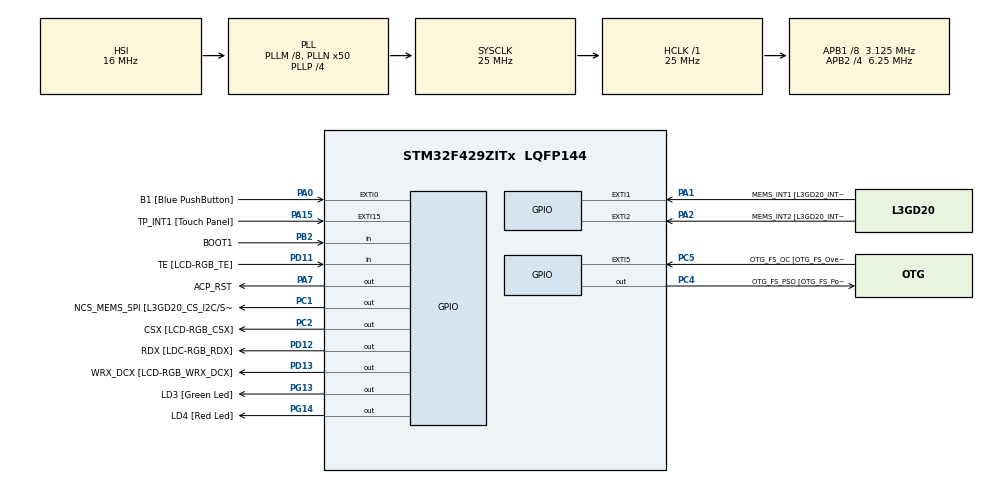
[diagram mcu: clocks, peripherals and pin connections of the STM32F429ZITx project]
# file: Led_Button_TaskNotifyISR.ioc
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Mcu.Family=STM32F4
Mcu.Name=STM32F429ZITx
Mcu.Package=LQFP144
NVIC.EXTI0_IRQn=true\:6\:0\:true\:false\:true\:true\:true\:true
NVIC.PriorityGroup=NVIC_PRIORITYGROUP_4
NVIC.TIM6_DAC_IRQn=true\:0\:0\:false\:false\:true\:false\:true\:true
NVIC.TimeBase=TIM6_DAC_IRQn
NVIC.TimeBaseIP=TIM6
PA0/WKUP.GPIO_Label=B1 [Blue PushButton]
PA0/WKUP.GPIO_ModeDefaultEXTI=GPIO_MODE_IT_FALLING
PA0/WKUP.GPIO_PuPd=GPIO_NOPULL
PA0/WKUP.Signal=GPXTI0
PA1.GPIO_Label=MEMS_INT1 [L3GD20_INT1]
PA1.GPIO_ModeDefaultEXTI=GPIO_MODE_EVT_RISING
PA1.GPIO_PuPd=GPIO_NOPULL
PA1.Signal=GPXTI1
PA10.GPIO_Label=STLINK_TX [STM32F103CBT6_PA2]
PA10.Signal=USART1_RX
PA11.GPIO_Label=R4
PA11.GPIO_Mode=GPIO_MODE_AF_PP
PA11.GPIO_PuPd=GPIO_NOPULL
PA11.GPIO_Speed=GPIO_SPEED_FREQ_LOW
PA11.Signal=LTDC_R4
PA12.GPIO_Label=R5
PA12.GPIO_Mode=GPIO_MODE_AF_PP
PA12.GPIO_PuPd=GPIO_NOPULL
PA12.GPIO_Speed=GPIO_SPEED_FREQ_LOW
PA12.Signal=LTDC_R5
PA13.GPIO_Label=SWDIO
PA13.Signal=SYS_JTMS-SWDIO
PA14.GPIO_Label=SWCLK
PA14.Signal=SYS_JTCK-SWCLK
PA15.GPIO_Label=TP_INT1 [Touch Panel]
PA15.GPIO_ModeDefaultEXTI=GPIO_MODE_EVT_RISING
PA15.GPIO_PuPd=GPIO_NOPULL
PA15.Signal=GPXTI15
PA2.GPIO_Label=MEMS_INT2 [L3GD20_INT2]
PA2.GPIO_ModeDefaultEXTI=GPIO_MODE_EVT_RISING
PA2.GPIO_PuPd=GPIO_NOPULL
PA2.Signal=GPXTI2
PA3.GPIO_Label=B5
PA3.GPIO_Mode=GPIO_MODE_AF_PP
PA3.GPIO_PuPd=GPIO_NOPULL
PA3.GPIO_Speed=GPIO_SPEED_FREQ_LOW
PA3.Signal=LTDC_B5
PA4.GPIO_Label=VSYNC
PA4.GPIO_Mode=GPIO_MODE_AF_PP
PA4.GPIO_PuPd=GPIO_NOPULL
PA4.GPIO_Speed=GPIO_SPEED_FREQ_LOW
PA4.Signal=LTDC_VSYNC
PA6.GPIO_Label=G2
PA6.GPIO_Mode=GPIO_MODE_AF_PP
PA6.GPIO_PuPd=GPIO_NOPULL
PA6.GPIO_Speed=GPIO_SPEED_FREQ_LOW
PA6.Signal=LTDC_G2
PA7.GPIO_Label=ACP_RST
PA7.GPIO_Mode=GPIO_MODE_OUTPUT_PP
PA7.GPIO_PuPd=GPIO_NOPULL
PA7.GPIO_Speed=GPIO_SPEED_FREQ_LOW
PA7.Signal=GPIO_Output
PA8.GPIO_Label=I2C3_SCL [ACP/RF_SCL]
PA8.GPIO_Mode=GPIO_MODE_AF_OD
PA8.GPIO_PuPd=GPIO_NOPULL
PA8.GPIO_Speed=GPIO_SPEED_FREQ_LOW
PA8.Signal=I2C3_SCL
PA9.GPIO_Label=STLINK_RX [STM32F103CBT6_PA3]
PA9.Signal=USART1_TX
PB0.GPIO_Label=R3
PB0.GPIO_Mode=GPIO_MODE_AF_PP
PB0.GPIO_PuPd=GPIO_NOPULL
PB0.GPIO_Speed=GPIO_SPEED_FREQ_LOW
PB0.Signal=LTDC_R3
PB1.GPIO_Label=R6
PB1.GPIO_Mode=GPIO_MODE_AF_PP
PB1.GPIO_PuPd=GPIO_NOPULL
PB1.GPIO_Speed=GPIO_SPEED_FREQ_LOW
PB1.Signal=LTDC_R6
PB10.GPIO_Label=G4
PB10.GPIO_Mode=GPIO_MODE_AF_PP
PB10.GPIO_PuPd=GPIO_NOPULL
PB10.GPIO_Speed=GPIO_SPEED_FREQ_LOW
PB10.Signal=LTDC_G4
PB11.GPIO_Label=G5
PB11.GPIO_Mode=GPIO_MODE_AF_PP
PB11.GPIO_PuPd=GPIO_NOPULL
PB11.GPIO_Speed=GPIO_SPEED_FREQ_LOW
PB11.Signal=LTDC_G5
PB12.GPIO_Label=OTG_HS_ID
PB12.GPIO_Mode=GPIO_MODE_AF_PP
PB12.GPIO_PuPd=GPIO_NOPULL
PB12.GPIO_Speed=GPIO_SPEED_FREQ_LOW
PB12.Signal=USB_OTG_HS_ID
PB13.GPIO_Label=VBUS_HS
PB13.GPIO_Mode=GPIO_MODE_INPUT
PB13.GPIO_PuPd=GPIO_NOPULL
PB13.Signal=USB_OTG_HS_VBUS
PB14.GPIO_Label=OTG_HS_DM
PB14.GPIO_Mode=GPIO_MODE_AF_PP
PB14.GPIO_PuPd=GPIO_NOPULL
PB14.GPIO_Speed=GPIO_SPEED_FREQ_LOW
PB14.Signal=USB_OTG_HS_DM
PB15.GPIO_Label=OTG_HS_DP
PB15.GPIO_Mode=GPIO_MODE_AF_PP
PB15.GPIO_PuPd=GPIO_NOPULL
PB15.GPIO_Speed=GPIO_SPEED_FREQ_LOW
PB15.Signal=USB_OTG_HS_DP
PB2/BOOT1.GPIO_Label=BOOT1
PB2/BOOT1.GPIO_Mode=GPIO_MODE_INPUT
PB2/BOOT1.GPIO_PuPd=GPIO_NOPULL
PB2/BOOT1.Signal=GPIO_Input
PB5.GPIO_Label=SDCKE1
PB5.GPIO_Mode=GPIO_MODE_AF_PP
PB5.GPIO_PuPd=GPIO_NOPULL
PB5.GPIO_Speed=GPIO_SPEED_FREQ_VERY_HIGH
PB5.Signal=FMC_SDCKE1
PB6.GPIO_Label=SDNE1 [SDRAM_CS]
PB6.GPIO_Mode=GPIO_MODE_AF_PP
PB6.GPIO_PuPd=GPIO_NOPULL
PB6.GPIO_Speed=GPIO_SPEED_FREQ_VERY_HIGH
PB6.Signal=FMC_SDNE1
PB8.GPIO_Label=B6
PB8.GPIO_Mode=GPIO_MODE_AF_PP
PB8.GPIO_PuPd=GPIO_NOPULL
PB8.GPIO_Speed=GPIO_SPEED_FREQ_LOW
PB8.Signal=LTDC_B6
PB9.GPIO_Label=B7
PB9.GPIO_Mode=GPIO_MODE_AF_PP
PB9.GPIO_PuPd=GPIO_NOPULL
PB9.GPIO_Speed=GPIO_SPEED_FREQ_LOW
PB9.Signal=LTDC_B7
PC0.GPIO_Label=SDNWE
PC0.GPIO_Mode=GPIO_MODE_AF_PP
PC0.GPIO_PuPd=GPIO_NOPULL
PC0.GPIO_Speed=GPIO_SPEED_FREQ_VERY_HIGH
PC0.Signal=FMC_SDNWE
PC1.GPIO_Label=NCS_MEMS_SPI [L3GD20_CS_I2C/SPI]
PC1.GPIO_Mode=GPIO_MODE_OUTPUT_PP
PC1.GPIO_PuPd=GPIO_NOPULL
PC1.GPIO_Speed=GPIO_SPEED_FREQ_LOW
PC1.Signal=GPIO_Output
PC10.GPIO_Label=R2
PC10.GPIO_Mode=GPIO_MODE_AF_PP
PC10.GPIO_PuPd=GPIO_NOPULL
PC10.GPIO_Speed=GPIO_SPEED_FREQ_LOW
PC10.Signal=LTDC_R2
PC14/OSC32_IN.GPIO_Label=PC14-OSC32_IN
PC14/OSC32_IN.Signal=RCC_OSC32_IN
PC15/OSC32_OUT.GPIO_Label=PC15-OSC32_OUT
PC15/OSC32_OUT.Signal=RCC_OSC32_OUT
PC2.GPIO_Label=CSX [LCD-RGB_CSX]
PC2.GPIO_Mode=GPIO_MODE_OUTPUT_PP
PC2.GPIO_PuPd=GPIO_NOPULL
PC2.GPIO_Speed=GPIO_SPEED_FREQ_LOW
PC2.Signal=GPIO_Output
PC4.GPIO_Label=OTG_FS_PSO [OTG_FS_PowerSwitchOn]
PC4.GPIO_Mode=GPIO_MODE_OUTPUT_PP
PC4.GPIO_PuPd=GPIO_NOPULL
PC4.GPIO_Speed=GPIO_SPEED_FREQ_LOW
PC4.Signal=GPIO_Output
PC5.GPIO_Label=OTG_FS_OC [OTG_FS_OverCurrent]
PC5.GPIO_ModeDefaultEXTI=GPIO_MODE_EVT_RISING
PC5.Signal=GPXTI5
PC6.GPIO_Label=HSYNC
PC6.GPIO_Mode=GPIO_MODE_AF_PP
PC6.GPIO_PuPd=GPIO_NOPULL
PC6.GPIO_Speed=GPIO_SPEED_FREQ_LOW
PC6.Signal=LTDC_HSYNC
PC7.GPIO_Label=G6
PC7.GPIO_Mode=GPIO_MODE_AF_PP
PC7.GPIO_PuPd=GPIO_NOPULL
PC7.GPIO_Speed=GPIO_SPEED_FREQ_LOW
PC7.Signal=LTDC_G6
PC9.GPIO_Label=I2C3_SDA [ACP/RF_SDA]
PC9.GPIO_Mode=GPIO_MODE_AF_OD
PC9.GPIO_PuPd=GPIO_NOPULL
PC9.GPIO_Speed=GPIO_SPEED_FREQ_LOW
PC9.Signal=I2C3_SDA
PD0.GPIO_Label=D2
PD0.GPIO_Mode=GPIO_MODE_AF_PP
PD0.GPIO_PuPd=GPIO_NOPULL
PD0.GPIO_Speed=GPIO_SPEED_FREQ_VERY_HIGH
PD0.Signal=FMC_D2_DA2
PD1.GPIO_Label=D3
PD1.GPIO_Mode=GPIO_MODE_AF_PP
PD1.GPIO_PuPd=GPIO_NOPULL
PD1.GPIO_Speed=GPIO_SPEED_FREQ_VERY_HIGH
PD1.Signal=FMC_D3_DA3
PD10.GPIO_Label=D15
PD10.GPIO_Mode=GPIO_MODE_AF_PP
PD10.GPIO_PuPd=GPIO_NOPULL
PD10.GPIO_Speed=GPIO_SPEED_FREQ_VERY_HIGH
PD10.Signal=FMC_D15_DA15
PD11.GPIO_Label=TE [LCD-RGB_TE]
PD11.GPIO_Mode=GPIO_MODE_INPUT
PD11.GPIO_PuPd=GPIO_NOPULL
PD11.Signal=GPIO_Input
PD12.GPIO_Label=RDX [LDC-RGB_RDX]
PD12.GPIO_Mode=GPIO_MODE_OUTPUT_PP
PD12.GPIO_PuPd=GPIO_NOPULL
PD12.GPIO_Speed=GPIO_SPEED_FREQ_LOW
PD12.Signal=GPIO_Output
PD13.GPIO_Label=WRX_DCX [LCD-RGB_WRX_DCX]
PD13.GPIO_Mode=GPIO_MODE_OUTPUT_PP
PD13.GPIO_PuPd=GPIO_NOPULL
PD13.GPIO_Speed=GPIO_SPEED_FREQ_LOW
PD13.Signal=GPIO_Output
PD14.GPIO_Label=D0
PD14.GPIO_Mode=GPIO_MODE_AF_PP
PD14.GPIO_PuPd=GPIO_NOPULL
PD14.GPIO_Speed=GPIO_SPEED_FREQ_VERY_HIGH
PD14.Signal=FMC_D0_DA0
PD15.GPIO_Label=D1
PD15.GPIO_Mode=GPIO_MODE_AF_PP
PD15.GPIO_PuPd=GPIO_NOPULL
PD15.GPIO_Speed=GPIO_SPEED_FREQ_VERY_HIGH
PD15.Signal=FMC_D1_DA1
PD3.GPIO_Label=G7
PD3.GPIO_Mode=GPIO_MODE_AF_PP
PD3.GPIO_PuPd=GPIO_NOPULL
PD3.GPIO_Speed=GPIO_SPEED_FREQ_LOW
PD3.Signal=LTDC_G7
PD6.GPIO_Label=B2
PD6.GPIO_Mode=GPIO_MODE_AF_PP
PD6.GPIO_PuPd=GPIO_NOPULL
PD6.GPIO_Speed=GPIO_SPEED_FREQ_LOW
PD6.Signal=LTDC_B2
PD8.GPIO_Label=D13
PD8.GPIO_Mode=GPIO_MODE_AF_PP
PD8.GPIO_PuPd=GPIO_NOPULL
PD8.GPIO_Speed=GPIO_SPEED_FREQ_VERY_HIGH
PD8.Signal=FMC_D13_DA13
PD9.GPIO_Label=D14
PD9.GPIO_Mode=GPIO_MODE_AF_PP
PD9.GPIO_PuPd=GPIO_NOPULL
PD9.GPIO_Speed=GPIO_SPEED_FREQ_VERY_HIGH
PD9.Signal=FMC_D14_DA14
PE0.GPIO_Label=NBL0 [SDRAM_LDQM]
PE0.GPIO_Mode=GPIO_MODE_AF_PP
PE0.GPIO_PuPd=GPIO_NOPULL
PE0.GPIO_Speed=GPIO_SPEED_FREQ_VERY_HIGH
PE0.Signal=FMC_NBL0
PE1.GPIO_Label=NBL1 [SDRAM_UDQM]
PE1.GPIO_Mode=GPIO_MODE_AF_PP
PE1.GPIO_PuPd=GPIO_NOPULL
PE1.GPIO_Speed=GPIO_SPEED_FREQ_VERY_HIGH
PE1.Signal=FMC_NBL1
PE10.GPIO_Label=D7
PE10.GPIO_Mode=GPIO_MODE_AF_PP
PE10.GPIO_PuPd=GPIO_NOPULL
PE10.GPIO_Speed=GPIO_SPEED_FREQ_VERY_HIGH
PE10.Signal=FMC_D7_DA7
PE11.GPIO_Label=D8
PE11.GPIO_Mode=GPIO_MODE_AF_PP
PE11.GPIO_PuPd=GPIO_NOPULL
PE11.GPIO_Speed=GPIO_SPEED_FREQ_VERY_HIGH
PE11.Signal=FMC_D8_DA8
PE12.GPIO_Label=D9
PE12.GPIO_Mode=GPIO_MODE_AF_PP
PE12.GPIO_PuPd=GPIO_NOPULL
PE12.GPIO_Speed=GPIO_SPEED_FREQ_VERY_HIGH
PE12.Signal=FMC_D9_DA9
PE13.GPIO_Label=D10
PE13.GPIO_Mode=GPIO_MODE_AF_PP
PE13.GPIO_PuPd=GPIO_NOPULL
PE13.GPIO_Speed=GPIO_SPEED_FREQ_VERY_HIGH
PE13.Signal=FMC_D10_DA10
PE14.GPIO_Label=D11
PE14.GPIO_Mode=GPIO_MODE_AF_PP
PE14.GPIO_PuPd=GPIO_NOPULL
PE14.GPIO_Speed=GPIO_SPEED_FREQ_VERY_HIGH
PE14.Signal=FMC_D11_DA11
PE15.GPIO_Label=D12
PE15.GPIO_Mode=GPIO_MODE_AF_PP
PE15.GPIO_PuPd=GPIO_NOPULL
PE15.GPIO_Speed=GPIO_SPEED_FREQ_VERY_HIGH
PE15.Signal=FMC_D12_DA12
PE7.GPIO_Label=D4
PE7.GPIO_Mode=GPIO_MODE_AF_PP
PE7.GPIO_PuPd=GPIO_NOPULL
PE7.GPIO_Speed=GPIO_SPEED_FREQ_VERY_HIGH
PE7.Signal=FMC_D4_DA4
PE8.GPIO_Label=D5
PE8.GPIO_Mode=GPIO_MODE_AF_PP
PE8.GPIO_PuPd=GPIO_NOPULL
PE8.GPIO_Speed=GPIO_SPEED_FREQ_VERY_HIGH
PE8.Signal=FMC_D5_DA5
PE9.GPIO_Label=D6
PE9.GPIO_Mode=GPIO_MODE_AF_PP
PE9.GPIO_PuPd=GPIO_NOPULL
PE9.GPIO_Speed=GPIO_SPEED_FREQ_VERY_HIGH
PE9.Signal=FMC_D6_DA6
PF0.GPIO_Label=A0
PF0.GPIO_Mode=GPIO_MODE_AF_PP
PF0.GPIO_PuPd=GPIO_NOPULL
PF0.GPIO_Speed=GPIO_SPEED_FREQ_VERY_HIGH
PF0.Signal=FMC_A0
PF1.GPIO_Label=A1
PF1.GPIO_Mode=GPIO_MODE_AF_PP
PF1.GPIO_PuPd=GPIO_NOPULL
PF1.GPIO_Speed=GPIO_SPEED_FREQ_VERY_HIGH
PF1.Signal=FMC_A1
PF10.GPIO_Label=ENABLE [LCD-RGB_ENABLE]
PF10.GPIO_Mode=GPIO_MODE_AF_PP
PF10.GPIO_PuPd=GPIO_NOPULL
PF10.GPIO_Speed=GPIO_SPEED_FREQ_LOW
PF10.Signal=LTDC_DE
PF11.GPIO_Label=SDNRAS
PF11.GPIO_Mode=GPIO_MODE_AF_PP
PF11.GPIO_PuPd=GPIO_NOPULL
PF11.GPIO_Speed=GPIO_SPEED_FREQ_VERY_HIGH
PF11.Signal=FMC_SDNRAS
PF12.GPIO_Label=A6
PF12.GPIO_Mode=GPIO_MODE_AF_PP
PF12.GPIO_PuPd=GPIO_NOPULL
PF12.GPIO_Speed=GPIO_SPEED_FREQ_VERY_HIGH
PF12.Signal=FMC_A6
PF13.GPIO_Label=A7
PF13.GPIO_Mode=GPIO_MODE_AF_PP
PF13.GPIO_PuPd=GPIO_NOPULL
PF13.GPIO_Speed=GPIO_SPEED_FREQ_VERY_HIGH
PF13.Signal=FMC_A7
PF14.GPIO_Label=A8
PF14.GPIO_Mode=GPIO_MODE_AF_PP
PF14.GPIO_PuPd=GPIO_NOPULL
PF14.GPIO_Speed=GPIO_SPEED_FREQ_VERY_HIGH
PF14.Signal=FMC_A8
PF15.GPIO_Label=A9
PF15.GPIO_Mode=GPIO_MODE_AF_PP
PF15.GPIO_PuPd=GPIO_NOPULL
PF15.GPIO_Speed=GPIO_SPEED_FREQ_VERY_HIGH
PF15.Signal=FMC_A9
PF2.GPIO_Label=A2
PF2.GPIO_Mode=GPIO_MODE_AF_PP
PF2.GPIO_PuPd=GPIO_NOPULL
PF2.GPIO_Speed=GPIO_SPEED_FREQ_VERY_HIGH
PF2.Signal=FMC_A2
PF3.GPIO_Label=A3
PF3.GPIO_Mode=GPIO_MODE_AF_PP
PF3.GPIO_PuPd=GPIO_NOPULL
PF3.GPIO_Speed=GPIO_SPEED_FREQ_VERY_HIGH
PF3.Signal=FMC_A3
PF4.GPIO_Label=A4
PF4.GPIO_Mode=GPIO_MODE_AF_PP
PF4.GPIO_PuPd=GPIO_NOPULL
PF4.GPIO_Speed=GPIO_SPEED_FREQ_VERY_HIGH
PF4.Signal=FMC_A4
PF5.GPIO_Label=A5
PF5.GPIO_Mode=GPIO_MODE_AF_PP
PF5.GPIO_PuPd=GPIO_NOPULL
PF5.GPIO_Speed=GPIO_SPEED_FREQ_VERY_HIGH
PF5.Signal=FMC_A5
PF7.GPIO_Label=SPI5_SCK [L3GD20_SCL/SPC]
PF7.GPIO_Mode=GPIO_MODE_AF_PP
PF7.GPIO_PuPd=GPIO_NOPULL
PF7.GPIO_Speed=GPIO_SPEED_FREQ_LOW
PF7.Signal=SPI5_SCK
PF8.GPIO_Label=SPI5_MISO [L3GD20_SDO]
PF8.GPIO_Mode=GPIO_MODE_AF_PP
PF8.GPIO_PuPd=GPIO_NOPULL
PF8.GPIO_Speed=GPIO_SPEED_FREQ_LOW
PF8.Signal=SPI5_MISO
PF9.GPIO_Label=SPI5_MOSI [L3GD20_SDA/SDI/SDO]
PF9.GPIO_Mode=GPIO_MODE_AF_PP
PF9.GPIO_PuPd=GPIO_NOPULL
PF9.GPIO_Speed=GPIO_SPEED_FREQ_LOW
PF9.Signal=SPI5_MOSI
PG0.GPIO_Label=A10
PG0.GPIO_Mode=GPIO_MODE_AF_PP
PG0.GPIO_PuPd=GPIO_NOPULL
PG0.GPIO_Speed=GPIO_SPEED_FREQ_VERY_HIGH
PG0.Signal=FMC_A10
PG1.GPIO_Label=A11
PG1.GPIO_Mode=GPIO_MODE_AF_PP
PG1.GPIO_PuPd=GPIO_NOPULL
PG1.GPIO_Speed=GPIO_SPEED_FREQ_VERY_HIGH
PG1.Signal=FMC_A11
PG10.GPIO_Label=G3
PG10.GPIO_Mode=GPIO_MODE_AF_PP
PG10.GPIO_PuPd=GPIO_NOPULL
PG10.GPIO_Speed=GPIO_SPEED_FREQ_LOW
PG10.Signal=LTDC_G3
PG11.GPIO_Label=B3
PG11.GPIO_Mode=GPIO_MODE_AF_PP
PG11.GPIO_PuPd=GPIO_NOPULL
PG11.GPIO_Speed=GPIO_SPEED_FREQ_LOW
PG11.Signal=LTDC_B3
PG12.GPIO_Label=B4
PG12.GPIO_Mode=GPIO_MODE_AF_PP
PG12.GPIO_PuPd=GPIO_NOPULL
PG12.GPIO_Speed=GPIO_SPEED_FREQ_LOW
PG12.Signal=LTDC_B4
PG13.GPIO_Label=LD3 [Green Led]
PG13.GPIO_Mode=GPIO_MODE_OUTPUT_PP
PG13.GPIO_PuPd=GPIO_NOPULL
PG13.GPIO_Speed=GPIO_SPEED_FREQ_LOW
PG13.Signal=GPIO_Output
PG14.GPIO_Label=LD4 [Red Led]
PG14.GPIO_Mode=GPIO_MODE_OUTPUT_PP
PG14.GPIO_PuPd=GPIO_NOPULL
PG14.GPIO_Speed=GPIO_SPEED_FREQ_LOW
PG14.Signal=GPIO_Output
PG15.GPIO_Label=SDNCAS
PG15.GPIO_Mode=GPIO_MODE_AF_PP
PG15.GPIO_PuPd=GPIO_NOPULL
PG15.GPIO_Speed=GPIO_SPEED_FREQ_VERY_HIGH
PG15.Signal=FMC_SDNCAS
PG4.GPIO_Label=BA0
PG4.GPIO_Mode=GPIO_MODE_AF_PP
PG4.GPIO_PuPd=GPIO_NOPULL
PG4.GPIO_Speed=GPIO_SPEED_FREQ_VERY_HIGH
PG4.Signal=FMC_A14_BA0
PG5.GPIO_Label=BA1
PG5.GPIO_Mode=GPIO_MODE_AF_PP
PG5.GPIO_PuPd=GPIO_NOPULL
PG5.GPIO_Speed=GPIO_SPEED_FREQ_VERY_HIGH
PG5.Signal=FMC_A15_BA1
PG6.GPIO_Label=R7
PG6.GPIO_Mode=GPIO_MODE_AF_PP
PG6.GPIO_PuPd=GPIO_NOPULL
PG6.GPIO_Speed=GPIO_SPEED_FREQ_LOW
PG6.Signal=LTDC_R7
PG7.GPIO_Label=DOTCLK [LCT-RGB_DOTCLK]
PG7.GPIO_Mode=GPIO_MODE_AF_PP
PG7.GPIO_PuPd=GPIO_NOPULL
PG7.GPIO_Speed=GPIO_SPEED_FREQ_LOW
PG7.Signal=LTDC_CLK
PG8.GPIO_Label=SDCLK
PG8.GPIO_Mode=GPIO_MODE_AF_PP
PG8.GPIO_PuPd=GPIO_NOPULL
PG8.GPIO_Speed=GPIO_SPEED_FREQ_VERY_HIGH
PG8.Signal=FMC_SDCLK
PH0/OSC_IN.GPIO_Label=PH0-OSC_IN
PH0/OSC_IN.Signal=RCC_OSC_IN
PH1/OSC_OUT.GPIO_Label=PH1-OSC_OUT
PH1/OSC_OUT.Signal=RCC_OSC_OUT
ProjectManager.HeapSize=0x200
ProjectManager.StackSize=0x400
ProjectManager.TargetToolchain=STM32CubeIDE
RCC.48MHZClocksFreq_Value=14285714.285714285
RCC.AHBFreq_Value=25000000
RCC.APB1CLKDivider=RCC_HCLK_DIV8
RCC.APB1Freq_Value=3125000
RCC.APB1TimFreq_Value=6250000
RCC.APB2CLKDivider=RCC_HCLK_DIV4
RCC.APB2Freq_Value=6250000
RCC.APB2TimFreq_Value=12500000
RCC.CortexFreq_Value=25000000
RCC.HCLKFreq_Value=25000000
RCC.HSE_VALUE=8000000
RCC.HSI_VALUE=16000000
RCC.LSE_VALUE=32768
RCC.PLLM=8
RCC.PLLN=50
RCC.PLLP=RCC_PLLP_DIV4
RCC.PLLQ=7
RCC.SYSCLKFreq_VALUE=25000000
RCC.SYSCLKSource=RCC_SYSCLKSOURCE_PLLCLK
RCC.VCOOutputFreq_Value=100000000
SH.FMC_A0.0=FMC_A0
SH.FMC_A1.0=FMC_A1
SH.FMC_A10.0=FMC_A10
SH.FMC_A11.0=FMC_A11
SH.FMC_A14_BA0.0=FMC_BA0
SH.FMC_A15_BA1.0=FMC_BA1
SH.FMC_A2.0=FMC_A2
SH.FMC_A3.0=FMC_A3
SH.FMC_A4.0=FMC_A4
SH.FMC_A5.0=FMC_A5
SH.FMC_A6.0=FMC_A6
SH.FMC_A7.0=FMC_A7
SH.FMC_A8.0=FMC_A8
SH.FMC_A9.0=FMC_A9
SH.FMC_D0_DA0.0=FMC_D0
SH.FMC_D10_DA10.0=FMC_D10
SH.FMC_D11_DA11.0=FMC_D11
SH.FMC_D12_DA12.0=FMC_D12
SH.FMC_D13_DA13.0=FMC_D13
SH.FMC_D14_DA14.0=FMC_D14
SH.FMC_D15_DA15.0=FMC_D15
SH.FMC_D1_DA1.0=FMC_D1
SH.FMC_D2_DA2.0=FMC_D2
SH.FMC_D3_DA3.0=FMC_D3
SH.FMC_D4_DA4.0=FMC_D4
SH.FMC_D5_DA5.0=FMC_D5
SH.FMC_D6_DA6.0=FMC_D6
SH.FMC_D7_DA7.0=FMC_D7
SH.FMC_D8_DA8.0=FMC_D8
SH.FMC_D9_DA9.0=FMC_D9
SH.FMC_NBL0.0=FMC_NBL0
SH.FMC_NBL1.0=FMC_NBL1
SH.FMC_SDCLK.0=FMC_SDCLK
SH.FMC_SDNCAS.0=FMC_SDNCAS
SH.FMC_SDNRAS.0=FMC_SDNRAS
SH.FMC_SDNWE.0=FMC_SDNWE
VP_SYS_VS_tim6.Mode=TIM6
board=STM32F429I-DISC1

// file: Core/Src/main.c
/* USER CODE BEGIN Header */
/**
  ******************************************************************************
  * @file           : main.c
  * @brief          : Main program body
  ******************************************************************************
  * @attention
  *
  * Copyright (c) 2023 STMicroelectronics.
  * All rights reserved.
  *
  * This software is licensed under terms that can be found in the LICENSE file
  * in the root directory of this software component.
  * If no LICENSE file comes with this software, it is provided AS-IS.
  *
  ******************************************************************************
  */
/* USER CODE END Header */
#include "main.h"

/* USER CODE BEGIN Includes */
#include "FreeRTOS.h"
#include "task.h"
#include <stdio.h>
/* USER CODE END Includes */

/* USER CODE BEGIN PV */
BaseType_t	IsCreated;
TaskHandle_t GreenLedHandle, RedLedHandle, NewTaskHandle;

/* USER CODE END PV */

void SystemClock_Config(void);
static void MX_GPIO_Init(void);
/* USER CODE BEGIN PFP */
void ButtonISR();
static void RedLedTask(void *Params);
static void GreenLedTask(void *Params);
/* USER CODE END PFP */

int main(void)
{

  /* MCU Configuration--------------------------------------------------------*/

  /* Reset of all peripherals, Initializes the Flash interface and the Systick. */
  HAL_Init();

  /* Configure the system clock */
  SystemClock_Config();

  /* Initialize all configured peripherals */
  MX_GPIO_Init();
  /* USER CODE BEGIN 2 */
  IsCreated = xTaskCreate(GreenLedTask, "GreenLed", 200, NULL, 2, &GreenLedHandle);
  configASSERT(IsCreated);
  IsCreated = xTaskCreate(RedLedTask, "RedLed", 200, NULL, 1, &RedLedHandle);
   configASSERT(IsCreated);
   NewTaskHandle = GreenLedHandle;

   vTaskStartScheduler();
  /* USER CODE END 2 */

  /* Infinite loop */
  while (1)
  {

  }
}

void SystemClock_Config(void)
{
  RCC_OscInitTypeDef RCC_OscInitStruct = {0};
  RCC_ClkInitTypeDef RCC_ClkInitStruct = {0};

  /** Configure the main internal regulator output voltage
  */
  __HAL_RCC_PWR_CLK_ENABLE();
  __HAL_PWR_VOLTAGESCALING_CONFIG(PWR_REGULATOR_VOLTAGE_SCALE3);

  /** Initializes the RCC Oscillators according to the specified parameters
  * in the RCC_OscInitTypeDef structure.
  */
  RCC_OscInitStruct.OscillatorType = RCC_OSCILLATORTYPE_HSI;
  RCC_OscInitStruct.HSIState = RCC_HSI_ON;
  RCC_OscInitStruct.HSICalibrationValue = RCC_HSICALIBRATION_DEFAULT;
  RCC_OscInitStruct.PLL.PLLState = RCC_PLL_ON;
  RCC_OscInitStruct.PLL.PLLSource = RCC_PLLSOURCE_HSI;
  RCC_OscInitStruct.PLL.PLLM = 8;
  RCC_OscInitStruct.PLL.PLLN = 50;
  RCC_OscInitStruct.PLL.PLLP = RCC_PLLP_DIV4;
  RCC_OscInitStruct.PLL.PLLQ = 7;
  if (HAL_RCC_OscConfig(&RCC_OscInitStruct) != HAL_OK)
  {
    Error_Handler();
  }

  /** Initializes the CPU, AHB and APB buses clocks
  */
  RCC_ClkInitStruct.ClockType = RCC_CLOCKTYPE_HCLK|RCC_CLOCKTYPE_SYSCLK
                              |RCC_CLOCKTYPE_PCLK1|RCC_CLOCKTYPE_PCLK2;
  RCC_ClkInitStruct.SYSCLKSource = RCC_SYSCLKSOURCE_PLLCLK;
  RCC_ClkInitStruct.AHBCLKDivider = RCC_SYSCLK_DIV1;
  RCC_ClkInitStruct.APB1CLKDivider = RCC_HCLK_DIV8;
  RCC_ClkInitStruct.APB2CLKDivider = RCC_HCLK_DIV4;

  if (HAL_RCC_ClockConfig(&RCC_ClkInitStruct, FLASH_LATENCY_0) != HAL_OK)
  {
    Error_Handler();
  }
}

static void MX_GPIO_Init(void)
{
  GPIO_InitTypeDef GPIO_InitStruct = {0};

  /* GPIO Ports Clock Enable */
  __HAL_RCC_GPIOC_CLK_ENABLE();
  __HAL_RCC_GPIOF_CLK_ENABLE();
  __HAL_RCC_GPIOH_CLK_ENABLE();
  __HAL_RCC_GPIOA_CLK_ENABLE();
  __HAL_RCC_GPIOB_CLK_ENABLE();
  __HAL_RCC_GPIOG_CLK_ENABLE();
  __HAL_RCC_GPIOE_CLK_ENABLE();
  __HAL_RCC_GPIOD_CLK_ENABLE();

  /*Configure GPIO pin Output Level */
  HAL_GPIO_WritePin(GPIOC, NCS_MEMS_SPI_Pin|CSX_Pin|OTG_FS_PSO_Pin, GPIO_PIN_RESET);

  /*Configure GPIO pin Output Level */
  HAL_GPIO_WritePin(ACP_RST_GPIO_Port, ACP_RST_Pin, GPIO_PIN_RESET);

  /*Configure GPIO pin Output Level */
  HAL_GPIO_WritePin(GPIOD, RDX_Pin|WRX_DCX_Pin, GPIO_PIN_RESET);

  /*Configure GPIO pin Output Level */
  HAL_GPIO_WritePin(GPIOG, LD3_Pin|LD4_Pin, GPIO_PIN_RESET);

  /*Configure GPIO pins : A0_Pin A1_Pin A2_Pin A3_Pin
                           A4_Pin A5_Pin SDNRAS_Pin A6_Pin
                           A7_Pin A8_Pin A9_Pin */
  GPIO_InitStruct.Pin = A0_Pin|A1_Pin|A2_Pin|A3_Pin
                          |A4_Pin|A5_Pin|SDNRAS_Pin|A6_Pin
                          |A7_Pin|A8_Pin|A9_Pin;
  GPIO_InitStruct.Mode = GPIO_MODE_AF_PP;
  GPIO_InitStruct.Pull = GPIO_NOPULL;
  GPIO_InitStruct.Speed = GPIO_SPEED_FREQ_VERY_HIGH;
  GPIO_InitStruct.Alternate = GPIO_AF12_FMC;
  HAL_GPIO_Init(GPIOF, &GPIO_InitStruct);

  /*Configure GPIO pins : SPI5_SCK_Pin SPI5_MISO_Pin SPI5_MOSI_Pin */
  GPIO_InitStruct.Pin = SPI5_SCK_Pin|SPI5_MISO_Pin|SPI5_MOSI_Pin;
  GPIO_InitStruct.Mode = GPIO_MODE_AF_PP;
  GPIO_InitStruct.Pull = GPIO_NOPULL;
  GPIO_InitStruct.Speed = GPIO_SPEED_FREQ_LOW;
  GPIO_InitStruct.Alternate = GPIO_AF5_SPI5;
  HAL_GPIO_Init(GPIOF, &GPIO_InitStruct);

  /*Configure GPIO pin : ENABLE_Pin */
  GPIO_InitStruct.Pin = ENABLE_Pin;
  GPIO_InitStruct.Mode = GPIO_MODE_AF_PP;
  GPIO_InitStruct.Pull = GPIO_NOPULL;
  GPIO_InitStruct.Speed = GPIO_SPEED_FREQ_LOW;
  GPIO_InitStruct.Alternate = GPIO_AF14_LTDC;
  HAL_GPIO_Init(ENABLE_GPIO_Port, &GPIO_InitStruct);

  /*Configure GPIO pin : SDNWE_Pin */
  GPIO_InitStruct.Pin = SDNWE_Pin;
  GPIO_InitStruct.Mode = GPIO_MODE_AF_PP;
  GPIO_InitStruct.Pull = GPIO_NOPULL;
  GPIO_InitStruct.Speed = GPIO_SPEED_FREQ_VERY_HIGH;
  GPIO_InitStruct.Alternate = GPIO_AF12_FMC;
  HAL_GPIO_Init(SDNWE_GPIO_Port, &GPIO_InitStruct);

  /*Configure GPIO pins : NCS_MEMS_SPI_Pin CSX_Pin OTG_FS_PSO_Pin */
  GPIO_InitStruct.Pin = NCS_MEMS_SPI_Pin|CSX_Pin|OTG_FS_PSO_Pin;
  GPIO_InitStruct.Mode = GPIO_MODE_OUTPUT_PP;
  GPIO_InitStruct.Pull = GPIO_NOPULL;
  GPIO_InitStruct.Speed = GPIO_SPEED_FREQ_LOW;
  HAL_GPIO_Init(GPIOC, &GPIO_InitStruct);

  /*Configure GPIO pin : B1_Pin */
  GPIO_InitStruct.Pin = B1_Pin;
  GPIO_InitStruct.Mode = GPIO_MODE_IT_FALLING;
  GPIO_InitStruct.Pull = GPIO_NOPULL;
  HAL_GPIO_Init(B1_GPIO_Port, &GPIO_InitStruct);

  /*Configure GPIO pins : MEMS_INT1_Pin MEMS_INT2_Pin TP_INT1_Pin */
  GPIO_InitStruct.Pin = MEMS_INT1_Pin|MEMS_INT2_Pin|TP_INT1_Pin;
  GPIO_InitStruct.Mode = GPIO_MODE_EVT_RISING;
  GPIO_InitStruct.Pull = GPIO_NOPULL;
  HAL_GPIO_Init(GPIOA, &GPIO_InitStruct);

  /*Configure GPIO pins : B5_Pin VSYNC_Pin G2_Pin R4_Pin
                           R5_Pin */
  GPIO_InitStruct.Pin = B5_Pin|VSYNC_Pin|G2_Pin|R4_Pin
                          |R5_Pin;
  GPIO_InitStruct.Mode = GPIO_MODE_AF_PP;
  GPIO_InitStruct.Pull = GPIO_NOPULL;
  GPIO_InitStruct.Speed = GPIO_SPEED_FREQ_LOW;
  GPIO_InitStruct.Alternate = GPIO_AF14_LTDC;
  HAL_GPIO_Init(GPIOA, &GPIO_InitStruct);

  /*Configure GPIO pin : ACP_RST_Pin */
  GPIO_InitStruct.Pin = ACP_RST_Pin;
  GPIO_InitStruct.Mode = GPIO_MODE_OUTPUT_PP;
  GPIO_InitStruct.Pull = GPIO_NOPULL;
  GPIO_InitStruct.Speed = GPIO_SPEED_FREQ_LOW;
  HAL_GPIO_Init(ACP_RST_GPIO_Port, &GPIO_InitStruct);

  /*Configure GPIO pin : OTG_FS_OC_Pin */
  GPIO_InitStruct.Pin = OTG_FS_OC_Pin;
  GPIO_InitStruct.Mode = GPIO_MODE_EVT_RISING;
  GPIO_InitStruct.Pull = GPIO_NOPULL;
  HAL_GPIO_Init(OTG_FS_OC_GPIO_Port, &GPIO_InitStruct);

  /*Configure GPIO pins : R3_Pin R6_Pin */
  GPIO_InitStruct.Pin = R3_Pin|R6_Pin;
  GPIO_InitStruct.Mode = GPIO_MODE_AF_PP;
  GPIO_InitStruct.Pull = GPIO_NOPULL;
  GPIO_InitStruct.Speed = GPIO_SPEED_FREQ_LOW;
  GPIO_InitStruct.Alternate = GPIO_AF9_LTDC;
  HAL_GPIO_Init(GPIOB, &GPIO_InitStruct);

  /*Configure GPIO pin : BOOT1_Pin */
  GPIO_InitStruct.Pin = BOOT1_Pin;
  GPIO_InitStruct.Mode = GPIO_MODE_INPUT;
  GPIO_InitStruct.Pull = GPIO_NOPULL;
  HAL_GPIO_Init(BOOT1_GPIO_Port, &GPIO_InitStruct);

  /*Configure GPIO pins : A10_Pin A11_Pin BA0_Pin BA1_Pin
                           SDCLK_Pin SDNCAS_Pin */
  GPIO_InitStruct.Pin = A10_Pin|A11_Pin|BA0_Pin|BA1_Pin
                          |SDCLK_Pin|SDNCAS_Pin;
  GPIO_InitStruct.Mode = GPIO_MODE_AF_PP;
  GPIO_InitStruct.Pull = GPIO_NOPULL;
  GPIO_InitStruct.Speed = GPIO_SPEED_FREQ_VERY_HIGH;
  GPIO_InitStruct.Alternate = GPIO_AF12_FMC;
  HAL_GPIO_Init(GPIOG, &GPIO_InitStruct);

  /*Configure GPIO pins : D4_Pin D5_Pin D6_Pin D7_Pin
                           D8_Pin D9_Pin D10_Pin D11_Pin
                           D12_Pin NBL0_Pin NBL1_Pin */
  GPIO_InitStruct.Pin = D4_Pin|D5_Pin|D6_Pin|D7_Pin
                          |D8_Pin|D9_Pin|D10_Pin|D11_Pin
                          |D12_Pin|NBL0_Pin|NBL1_Pin;
  GPIO_InitStruct.Mode = GPIO_MODE_AF_PP;
  GPIO_InitStruct.Pull = GPIO_NOPULL;
  GPIO_InitStruct.Speed = GPIO_SPEED_FREQ_VERY_HIGH;
  GPIO_InitStruct.Alternate = GPIO_AF12_FMC;
  HAL_GPIO_Init(GPIOE, &GPIO_InitStruct);

  /*Configure GPIO pins : G4_Pin G5_Pin B6_Pin B7_Pin */
  GPIO_InitStruct.Pin = G4_Pin|G5_Pin|B6_Pin|B7_Pin;
  GPIO_InitStruct.Mode = GPIO_MODE_AF_PP;
  GPIO_InitStruct.Pull = GPIO_NOPULL;
  GPIO_InitStruct.Speed = GPIO_SPEED_FREQ_LOW;
  GPIO_InitStruct.Alternate = GPIO_AF14_LTDC;
  HAL_GPIO_Init(GPIOB, &GPIO_InitStruct);

  /*Configure GPIO pins : OTG_HS_ID_Pin OTG_HS_DM_Pin OTG_HS_DP_Pin */
  GPIO_InitStruct.Pin = OTG_HS_ID_Pin|OTG_HS_DM_Pin|OTG_HS_DP_Pin;
  GPIO_InitStruct.Mode = GPIO_MODE_AF_PP;
  GPIO_InitStruct.Pull = GPIO_NOPULL;
  GPIO_InitStruct.Speed = GPIO_SPEED_FREQ_LOW;
  GPIO_InitStruct.Alternate = GPIO_AF12_OTG_HS_FS;
  HAL_GPIO_Init(GPIOB, &GPIO_InitStruct);

  /*Configure GPIO pin : VBUS_HS_Pin */
  GPIO_InitStruct.Pin = VBUS_HS_Pin;
  GPIO_InitStruct.Mode = GPIO_MODE_INPUT;
  GPIO_InitStruct.Pull = GPIO_NOPULL;
  HAL_GPIO_Init(VBUS_HS_GPIO_Port, &GPIO_InitStruct);

  /*Configure GPIO pins : D13_Pin D14_Pin D15_Pin D0_Pin
                           D1_Pin D2_Pin D3_Pin */
  GPIO_InitStruct.Pin = D13_Pin|D14_Pin|D15_Pin|D0_Pin
                          |D1_Pin|D2_Pin|D3_Pin;
  GPIO_InitStruct.Mode = GPIO_MODE_AF_PP;
  GPIO_InitStruct.Pull = GPIO_NOPULL;
  GPIO_InitStruct.Speed = GPIO_SPEED_FREQ_VERY_HIGH;
  GPIO_InitStruct.Alternate = GPIO_AF12_FMC;
  HAL_GPIO_Init(GPIOD, &GPIO_InitStruct);

  /*Configure GPIO pin : TE_Pin */
  GPIO_InitStruct.Pin = TE_Pin;
  GPIO_InitStruct.Mode = GPIO_MODE_INPUT;
  GPIO_InitStruct.Pull = GPIO_NOPULL;
  HAL_GPIO_Init(TE_GPIO_Port, &GPIO_InitStruct);

  /*Configure GPIO pins : RDX_Pin WRX_DCX_Pin */
  GPIO_InitStruct.Pin = RDX_Pin|WRX_DCX_Pin;
  GPIO_InitStruct.Mode = GPIO_MODE_OUTPUT_PP;
  GPIO_InitStruct.Pull = GPIO_NOPULL;
  GPIO_InitStruct.Speed = GPIO_SPEED_FREQ_LOW;
  HAL_GPIO_Init(GPIOD, &GPIO_InitStruct);

  /*Configure GPIO pins : R7_Pin DOTCLK_Pin B3_Pin */
  GPIO_InitStruct.Pin = R7_Pin|DOTCLK_Pin|B3_Pin;
  GPIO_InitStruct.Mode = GPIO_MODE_AF_PP;
  GPIO_InitStruct.Pull = GPIO_NOPULL;
  GPIO_InitStruct.Speed = GPIO_SPEED_FREQ_LOW;
  GPIO_InitStruct.Alternate = GPIO_AF14_LTDC;
  HAL_GPIO_Init(GPIOG, &GPIO_InitStruct);

  /*Configure GPIO pins : HSYNC_Pin G6_Pin R2_Pin */
  GPIO_InitStruct.Pin = HSYNC_Pin|G6_Pin|R2_Pin;
  GPIO_InitStruct.Mode = GPIO_MODE_AF_PP;
  GPIO_InitStruct.Pull = GPIO_NOPULL;
  GPIO_InitStruct.Speed = GPIO_SPEED_FREQ_LOW;
  GPIO_InitStruct.Alternate = GPIO_AF14_LTDC;
  HAL_GPIO_Init(GPIOC, &GPIO_InitStruct);

  /*Configure GPIO pin : I2C3_SDA_Pin */
  GPIO_InitStruct.Pin = I2C3_SDA_Pin;
  GPIO_InitStruct.Mode = GPIO_MODE_AF_OD;
  GPIO_InitStruct.Pull = GPIO_NOPULL;
  GPIO_InitStruct.Speed = GPIO_SPEED_FREQ_LOW;
  GPIO_InitStruct.Alternate = GPIO_AF4_I2C3;
  HAL_GPIO_Init(I2C3_SDA_GPIO_Port, &GPIO_InitStruct);

  /*Configure GPIO pin : I2C3_SCL_Pin */
  GPIO_InitStruct.Pin = I2C3_SCL_Pin;
  GPIO_InitStruct.Mode = GPIO_MODE_AF_OD;
  GPIO_InitStruct.Pull = GPIO_NOPULL;
  GPIO_InitStruct.Speed = GPIO_SPEED_FREQ_LOW;
  GPIO_InitStruct.Alternate = GPIO_AF4_I2C3;
  HAL_GPIO_Init(I2C3_SCL_GPIO_Port, &GPIO_InitStruct);

  /*Configure GPIO pins : STLINK_RX_Pin STLINK_TX_Pin */
  GPIO_InitStruct.Pin = STLINK_RX_Pin|STLINK_TX_Pin;
  GPIO_InitStruct.Mode = GPIO_MODE_AF_PP;
  GPIO_InitStruct.Pull = GPIO_NOPULL;
  GPIO_InitStruct.Speed = GPIO_SPEED_FREQ_VERY_HIGH;
  GPIO_InitStruct.Alternate = GPIO_AF7_USART1;
  HAL_GPIO_Init(GPIOA, &GPIO_InitStruct);

  /*Configure GPIO pins : G7_Pin B2_Pin */
  GPIO_InitStruct.Pin = G7_Pin|B2_Pin;
  GPIO_InitStruct.Mode = GPIO_MODE_AF_PP;
  GPIO_InitStruct.Pull = GPIO_NOPULL;
  GPIO_InitStruct.Speed = GPIO_SPEED_FREQ_LOW;
  GPIO_InitStruct.Alternate = GPIO_AF14_LTDC;
  HAL_GPIO_Init(GPIOD, &GPIO_InitStruct);

  /*Configure GPIO pins : G3_Pin B4_Pin */
  GPIO_InitStruct.Pin = G3_Pin|B4_Pin;
  GPIO_InitStruct.Mode = GPIO_MODE_AF_PP;
  GPIO_InitStruct.Pull = GPIO_NOPULL;
  GPIO_InitStruct.Speed = GPIO_SPEED_FREQ_LOW;
  GPIO_InitStruct.Alternate = GPIO_AF9_LTDC;
  HAL_GPIO_Init(GPIOG, &GPIO_InitStruct);

  /*Configure GPIO pins : LD3_Pin LD4_Pin */
  GPIO_InitStruct.Pin = LD3_Pin|LD4_Pin;
  GPIO_InitStruct.Mode = GPIO_MODE_OUTPUT_PP;
  GPIO_InitStruct.Pull = GPIO_NOPULL;
  GPIO_InitStruct.Speed = GPIO_SPEED_FREQ_LOW;
  HAL_GPIO_Init(GPIOG, &GPIO_InitStruct);

  /*Configure GPIO pins : SDCKE1_Pin SDNE1_Pin */
  GPIO_InitStruct.Pin = SDCKE1_Pin|SDNE1_Pin;
  GPIO_InitStruct.Mode = GPIO_MODE_AF_PP;
  GPIO_InitStruct.Pull = GPIO_NOPULL;
  GPIO_InitStruct.Speed = GPIO_SPEED_FREQ_VERY_HIGH;
  GPIO_InitStruct.Alternate = GPIO_AF12_FMC;
  HAL_GPIO_Init(GPIOB, &GPIO_InitStruct);

  /* EXTI interrupt init*/
  HAL_NVIC_SetPriority(EXTI0_IRQn, 6, 0);
  HAL_NVIC_EnableIRQ(EXTI0_IRQn);

}

/* USER CODE BEGIN 4 */

static void GreenLedTask(void *Params)
{
	BaseType_t	Status;
	while(1)
	{
		HAL_GPIO_TogglePin(GPIOG, LD3_Pin);
		Status = xTaskNotifyWait(0,0,NULL,pdMS_TO_TICKS(1000));
		if(Status == pdTRUE)
		{
			portENTER_CRITICAL();
			NewTaskHandle = RedLedHandle;
			HAL_GPIO_WritePin(GPIOG, LD3_Pin, GPIO_PIN_SET);
			portEXIT_CRITICAL();
			vTaskDelete(NULL);
		}
	}
}

static void RedLedTask(void *Params)
{
	BaseType_t	Status;
		while(1)
		{
			HAL_GPIO_TogglePin(GPIOG, LD4_Pin);
			Status = xTaskNotifyWait(0,0,NULL,pdMS_TO_TICKS(500));
			if(Status == pdTRUE)
			{
				portENTER_CRITICAL();
				NewTaskHandle = NULL;
				HAL_GPIO_WritePin(GPIOG, LD4_Pin, GPIO_PIN_SET);
				portEXIT_CRITICAL();
				vTaskDelete(NULL);
			}
		}
}

void ButtonISR()
{
	BaseType_t	HigherPrioTask;

	HigherPrioTask = pdFALSE;

	xTaskNotifyFromISR(NewTaskHandle,0,eNoAction,&HigherPrioTask);//Unblocks the next task of higher priority
																  //if last field is given.
	portYIELD_FROM_ISR(HigherPrioTask);
}

/* USER CODE END 4 */

void HAL_TIM_PeriodElapsedCallback(TIM_HandleTypeDef *htim)
{
  if (htim->Instance == TIM6) {
    HAL_IncTick();
  }
}

void Error_Handler(void)
{
  __disable_irq();
  while (1)
  {
  }
}
